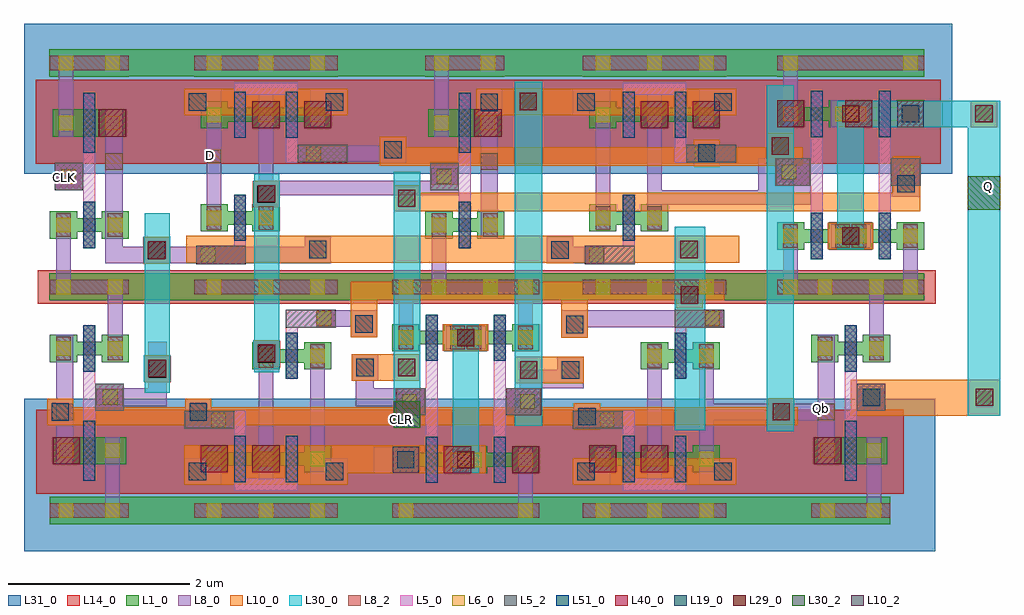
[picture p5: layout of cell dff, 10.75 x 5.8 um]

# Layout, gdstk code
from math import pi, radians
import gdstk
lib = gdstk.Library(unit=1e-6, precision=5e-09)
def R(c, l, rs):  # rectangles x0, y0, x1, y1
    for r in rs: c.add(gdstk.rectangle(r[:2], r[2:], *l))
def A(c, l, x, y, w, h, nx, ny, dx, dy):  # array of equal rectangles
    R(c, l, [(x+i*dx, y+j*dy, x+i*dx+w, y+j*dy+h) for i in range(nx) for j in range(ny)])
L1_0 = (1, 0)
L5_0 = (5, 0)
L5_2 = (5, 2)
L6_0 = (6, 0)
L8_0 = (8, 0)
L8_2 = (8, 2)
L10_0 = (10, 0)
L10_2 = (10, 2)
L14_0 = (14, 0)
L19_0 = (19, 0)
L29_0 = (29, 0)
L30_0 = (30, 0)
L30_2 = (30, 2)
L31_0 = (31, 0)
L40_0 = (40, 0)
L51_0 = (51, 0)

via1_constraint = lib.new_cell('Via1_constraint')
R(via1_constraint, L8_0, [(0.955,-0.005,1.245,0.285)])
R(via1_constraint, L10_0, [(0.955,-0.005,1.245,0.285)])
R(via1_constraint, L19_0, [(1.005,0.045,1.195,0.235)])

via2_constraint = lib.new_cell('Via2_constraint')
R(via2_constraint, L10_0, [(0,0,0.29,0.29)])
R(via2_constraint, L29_0, [(0.05,0.05,0.24,0.24)])
R(via2_constraint, L30_0, [(0,0,0.29,0.29)])

via1_constraint_3 = lib.new_cell('Via1_constraint$3')
R(via1_constraint_3, L8_0, [(0,0.18,0.29,0.47)])
R(via1_constraint_3, L10_0, [(0,0.18,0.29,0.47)])
R(via1_constraint_3, L19_0, [(0.05,0.23,0.24,0.42)])

via2_constraint_2 = lib.new_cell('Via2_constraint$2')
R(via2_constraint_2, L10_0, [(0,0.18,0.29,0.47)])
R(via2_constraint_2, L29_0, [(0.05,0.23,0.24,0.42)])
R(via2_constraint_2, L30_0, [(0,0.18,0.29,0.47)])

nmos_5 = lib.new_cell('nmos$5')
R(nmos_5, L1_0, [(0,0,0.3,0.3), (0.57,0,0.87,0.3), (0,0.075,0.87,0.225)])
R(nmos_5, L5_0, [(0.37,-0.105,0.5,0.405)])
R(nmos_5, L5_2, [(0.37,-0.105,0.5,0.405)])
R(nmos_5, L6_0, [(0.07,0.07,0.23,0.23), (0.64,0.07,0.8,0.23)])
R(nmos_5, L8_0, [(0.07,0.02,0.23,0.28), (0.64,0.02,0.8,0.28)])
R(nmos_5, L8_2, [(0.07,0.02,0.23,0.28), (0.64,0.02,0.8,0.28)])
R(nmos_5, L51_0, [(0.37,-0.105,0.5,0.405)])
nmos_5.add(gdstk.Label('nmos', (0.435,0.15), layer=63, texttype=0))
nmos_5.add(gdstk.Label('nmos', (0.435,0.15), layer=51, texttype=0))

pmos_3 = lib.new_cell('pmos$3')
R(pmos_3, L1_0, [(0,0.18,0.3,0.48), (0.57,0.18,0.87,0.48), (0,0.255,0.87,0.405)])
R(pmos_3, L5_0, [(0.37,0.075,0.5,0.585), (0.37,0.075,0.5,0.585)])
R(pmos_3, L6_0, [(0.07,0.25,0.23,0.41), (0.64,0.25,0.8,0.41)])
R(pmos_3, L8_0, [(0.07,0.2,0.23,0.46), (0.07,0.2,0.23,0.46), (0.64,0.2,0.8,0.46), (0.64,0.2,0.8,0.46)])
R(pmos_3, L14_0, [(-0.06,-0.045,1.05,0.705)])
R(pmos_3, L31_0, [(-0.31,-0.13,1.18,0.785)])
R(pmos_3, L40_0, [(0.57,0.18,0.87,0.48)])
R(pmos_3, L51_0, [(0.37,0.075,0.5,0.585)])
pmos_3.add(gdstk.Label('pmos', (0.435,0.33), layer=63, texttype=0))
pmos_3.add(gdstk.Label('pmos', (0.435,0.33), layer=51, texttype=0))

nor = lib.new_cell('NOR')
R(nor, L1_0, [(0.31,0.03,1.93,0.33), (0.31,2.495,1.93,2.795)])
R(nor, L5_0, [(0.68,0.995,0.81,1.83), (1.43,0.995,1.56,1.83), (0.35,1.295,0.68,1.595), (1.56,1.295,1.95,1.595)])
R(nor, L5_2, [(0.35,1.295,0.68,1.595), (1.56,1.295,1.95,1.595)])
R(nor, L6_0, [(0.38,0.1,0.54,0.26), (1.7,0.1,1.86,0.26), (0.95,0.66,1.29,0.82), (0.42,1.365,0.58,1.525), (1.72,1.365,1.88,1.525), (0.95,2.005,1.29,2.165), (0.38,2.565,0.54,2.725), (1.7,2.565,1.86,2.725)])
R(nor, L8_0, [(0.31,0.1,1.93,0.26), (0.9,0.61,1.34,0.87), (0.36,1.295,0.67,1.595), (1.57,1.295,1.94,1.595), (0.905,1.935,1.34,2.235), (0.105,1.94,0.315,2.23), (0.9,1.955,1.34,2.215), (0.31,2.565,1.93,2.725)])
R(nor, L8_2, [(0.31,0.1,1.93,0.26), (0.36,1.295,0.67,1.595), (1.57,1.295,1.94,1.595), (0.31,2.565,1.93,2.725)])
R(nor, L10_0, [(0.87,0.595,1.37,0.885)])
R(nor, L10_2, [(0.315,1.94,0.605,2.23)])
R(nor, L14_0, [(0.18,0,2.06,0.36)])
R(nor, L31_0, [(0,2.54,2.24,3.04)])
nor.add(gdstk.FlexPath([(1.78,2.215),(1.78,2.565)], 0.16, ends="flush", simple_path=True, layer=8, datatype=0))  # L8_0
nor.add(gdstk.FlexPath([(1.78,0.61),(1.78,0.26)], 0.16, ends="flush", simple_path=True, layer=8, datatype=0))  # L8_0
nor.add(gdstk.FlexPath([(0.46,0.61),(0.46,0.26),(0.46,0.26)], 0.16, ends="flush", simple_path=True, layer=8, datatype=0))  # L8_0
nor.add(gdstk.FlexPath([(0.605,2.085),(0.975,2.085)], 0.29, ends="flush", simple_path=True, layer=10, datatype=0))  # L10_0
nor.add(gdstk.FlexPath([(1.12,0.595),(1.12,1.955)], 0.29, ends="flush", simple_path=True, layer=30, datatype=0))  # L30_0
nor.add(gdstk.Reference(via1_constraint_3, (0.975,0.415)))
nor.add(gdstk.Reference(via2_constraint_2, (0.975,0.415)))
nor.add(gdstk.Reference(via2_constraint_2, (0.975,1.76)))
nor.add(gdstk.Reference(via1_constraint_3, (0.315,1.76)))
nor.add(gdstk.Reference(nmos_5, (1.06,0.59)))
nor.add(gdstk.Reference(nmos_5, (0.31,0.59)))
nor.add(gdstk.Reference(pmos_3, (1.06,1.755)))
nor.add(gdstk.Reference(pmos_3, (0.31,1.755)))
nor.add(gdstk.Label('VA', (1.79,1.43), layer=8, texttype=25))
nor.add(gdstk.Label('VB', (0.465,1.445), layer=8, texttype=25))
nor.add(gdstk.Label('VDD', (0.605,2.64), layer=8, texttype=25))
nor.add(gdstk.Label('VSS', (0.465,0.17), layer=8, texttype=25))
nor.add(gdstk.Label('VOUT', (0.325,1.975), layer=10, texttype=25))

nmos = lib.new_cell('nmos')
R(nmos, L1_0, [(0,-0.025,0.3,0.275), (0.57,-0.025,0.87,0.275), (0,0.05,0.87,0.2)])
R(nmos, L5_0, [(0.37,-0.13,0.5,0.38)])
R(nmos, L5_2, [(0.37,-0.13,0.5,0.38)])
R(nmos, L6_0, [(0.07,0.045,0.23,0.205), (0.64,0.045,0.8,0.205)])
R(nmos, L8_0, [(0.07,-0.005,0.23,0.255), (0.64,-0.005,0.8,0.255)])
R(nmos, L8_2, [(0.07,-0.005,0.23,0.255), (0.64,-0.005,0.8,0.255)])
R(nmos, L51_0, [(0.37,-0.13,0.5,0.38)])
nmos.add(gdstk.Label('nmos', (0.435,0.125), layer=63, texttype=0))
nmos.add(gdstk.Label('nmos', (0.435,0.125), layer=51, texttype=0))

pmos_1 = lib.new_cell('pmos$1')
R(pmos_1, L1_0, [(0,0.18,0.3,0.48), (0,0.18,0.81,0.48), (0.51,0.18,0.81,0.48)])
R(pmos_1, L5_0, [(0.34,0,0.47,0.66), (0.34,0,0.47,0.66)])
R(pmos_1, L6_0, [(0.07,0.25,0.23,0.41), (0.58,0.25,0.74,0.41)])
R(pmos_1, L8_0, [(0.07,0.18,0.23,0.48), (0.07,0.18,0.23,0.48), (0.58,0.18,0.74,0.48), (0.58,0.18,0.74,0.48)])
R(pmos_1, L14_0, [(-0.18,-0.12,0.99,0.78)])
R(pmos_1, L31_0, [(-0.31,-0.13,1.12,0.79)])
R(pmos_1, L40_0, [(0.51,0.18,0.81,0.48)])
R(pmos_1, L51_0, [(0.34,0,0.47,0.66)])
pmos_1.add(gdstk.Label('pmos', (0.405,0.33), layer=63, texttype=0))
pmos_1.add(gdstk.Label('pmos', (0.405,0.33), layer=51, texttype=0))

inv_d1 = lib.new_cell('INV_D1')
R(inv_d1, L1_0, [(-0.445,-1.44,0.425,-1.14), (-0.445,1.025,0.425,1.325)])
R(inv_d1, L5_0, [(-0.39,-0.225,-0.075,0.075), (-0.075,-0.03,0.055,0.185)])
R(inv_d1, L5_2, [(-0.39,-0.225,-0.075,0.075)])
R(inv_d1, L6_0, [(-0.375,-1.37,-0.215,-1.21), (0.195,-1.37,0.355,-1.21), (-0.32,-0.155,-0.16,0.005), (-0.345,1.095,-0.185,1.255), (0.165,1.095,0.325,1.255)])
R(inv_d1, L8_0, [(-0.445,-1.37,0.425,-1.21), (-0.39,-0.225,-0.075,0.075), (-0.445,1.095,0.425,1.255)])
R(inv_d1, L8_2, [(-0.445,-1.37,0.425,-1.21), (-0.38,-0.165,-0.085,0.015), (0.165,0,0.355,0.18), (-0.445,1.095,0.425,1.255)])
R(inv_d1, L14_0, [(-0.575,-1.47,0.555,-1.105)])
R(inv_d1, L31_0, [(-0.725,0.975,0.705,1.565)])
R(inv_d1, L40_0, [(0.095,0.365,0.395,0.665)])
inv_d1.add(gdstk.FlexPath([(-0.265,0.665),(-0.265,1.255)], 0.16, ends="flush", simple_path=True, layer=8, datatype=0))  # L8_0
inv_d1.add(gdstk.FlexPath([(0.26,-0.76),(0.26,0.665)], 0.19, ends="flush", simple_path=True, layer=8, datatype=0))  # L8_0
inv_d1.add(gdstk.FlexPath([(-0.295,-0.48),(-0.295,-1.37)], 0.16, ends="flush", simple_path=True, layer=8, datatype=0))  # L8_0
inv_d1.add(gdstk.FlexPath([(-0.01,-0.03),(-0.01,-0.355)], 0.13, ends="flush", simple_path=True, layer=5, datatype=0))  # L5_0
inv_d1.add(gdstk.Reference(nmos, (-0.445,-0.735)))
inv_d1.add(gdstk.Reference(pmos_1, (-0.415,0.185)))
inv_d1.add(gdstk.Label('nmos', (-0.01,-0.69), layer=63, texttype=0))
inv_d1.add(gdstk.Label('VDD', (-0.07,1.17), layer=8, texttype=25))
inv_d1.add(gdstk.Label('VSS', (-0.075,-1.295), layer=8, texttype=25))

nmos_4 = lib.new_cell('nmos$4')
R(nmos_4, L1_0, [(0,0.025,0.3,0.325), (0.57,0.025,0.87,0.325), (0,0.1,0.87,0.25)])
R(nmos_4, L5_0, [(0.37,-0.08,0.5,0.43)])
R(nmos_4, L5_2, [(0.37,-0.08,0.5,0.43)])
R(nmos_4, L6_0, [(0.07,0.095,0.23,0.255), (0.64,0.095,0.8,0.255)])
R(nmos_4, L8_0, [(0.07,0.045,0.23,0.305), (0.64,0.045,0.8,0.305)])
R(nmos_4, L8_2, [(0.07,0.045,0.23,0.305), (0.64,0.045,0.8,0.305)])
R(nmos_4, L51_0, [(0.37,-0.08,0.5,0.43)])
nmos_4.add(gdstk.Label('nmos', (0.435,0.175), layer=63, texttype=0))
nmos_4.add(gdstk.Label('nmos', (0.435,0.175), layer=51, texttype=0))

pmos_2 = lib.new_cell('pmos$2')
R(pmos_2, L1_0, [(0,0.14,0.3,0.44), (0.57,0.14,0.87,0.44), (0,0.215,0.87,0.365)])
R(pmos_2, L5_0, [(0.37,0.035,0.5,0.545), (0.37,0.035,0.5,0.545)])
R(pmos_2, L6_0, [(0.07,0.21,0.23,0.37), (0.64,0.21,0.8,0.37)])
R(pmos_2, L8_0, [(0.07,0.16,0.23,0.42), (0.07,0.16,0.23,0.43), (0.64,0.16,0.8,0.42), (0.64,0.16,0.8,0.42)])
R(pmos_2, L14_0, [(-0.18,-0.085,1.05,0.665)])
R(pmos_2, L31_0, [(-0.31,-0.2,1.18,0.725)])
R(pmos_2, L40_0, [(0.57,0.14,0.87,0.44)])
R(pmos_2, L51_0, [(0.37,0.035,0.5,0.545)])
pmos_2.add(gdstk.Label('pmos', (0.435,0.29), layer=63, texttype=0))
pmos_2.add(gdstk.Label('pmos', (0.435,0.29), layer=51, texttype=0))

via1_constraint_2 = lib.new_cell('Via1_constraint$2')
R(via1_constraint_2, L8_0, [(0,0.18,0.29,0.47)])
R(via1_constraint_2, L10_0, [(0,0.18,0.29,0.47)])
R(via1_constraint_2, L19_0, [(0.05,0.23,0.24,0.42)])

tg_2c = lib.new_cell('TG_2C')
R(tg_2c, L1_0, [(0.24,0.035,1.82,0.335), (0.24,2.5,1.82,2.8)])
R(tg_2c, L5_0, [(1.25,1.55,1.38,1.825)])
R(tg_2c, L5_2, [(0.26,0.435,0.81,0.635), (1.38,1.55,1.93,1.75)])
A(tg_2c, L6_0, 0.38, 0.105, 0.16, 0.16, 3, 2, 0.57, 2.465)
R(tg_2c, L6_0, [(0.31,0.455,0.47,0.615), (1.475,1.57,1.635,1.73)])
R(tg_2c, L8_0, [(0.24,0.105,1.82,0.265), (0.26,0.445,0.475,0.625), (1.38,1.56,1.92,1.74), (0.42,2.075,0.54,2.365), (1.52,2.075,1.64,2.365), (0.24,2.57,1.82,2.73)])
R(tg_2c, L8_2, [(0.24,0.105,1.82,0.265), (0.26,0.445,0.475,0.625), (0.95,0.865,1.11,1.02), (1.38,1.56,1.92,1.74), (0.24,2.57,1.82,2.73)])
R(tg_2c, L14_0, [(0.13,0,1.93,0.37)])
R(tg_2c, L31_0, [(0,2.515,2.06,3.04)])
tg_2c.add(gdstk.FlexPath([(0.46,2.355),(0.46,0.815)], 0.16, ends="flush", simple_path=True, layer=8, datatype=0))  # L8_0
tg_2c.add(gdstk.FlexPath([(1.03,2.355),(1.03,0.815)], 0.16, ends="flush", simple_path=True, layer=8, datatype=0))  # L8_0
tg_2c.add(gdstk.FlexPath([(1.38,1.65),(1.93,1.65)], 0.2, ends="flush", simple_path=True, layer=5, datatype=0))  # L5_0
tg_2c.add(gdstk.FlexPath([(0.745,2.265),(0.745,2.365),(1.315,2.365),(1.315,2.265)], 0.13, ends="flush", simple_path=True, layer=5, datatype=0))  # L5_0
tg_2c.add(gdstk.FlexPath([(0.26,0.535),(0.81,0.535),(0.81,0.535)], 0.2, ends="flush", simple_path=True, layer=5, datatype=0))  # L5_0
tg_2c.add(gdstk.FlexPath([(0.745,0.69),(0.745,0.635),(0.745,0.635)], 0.13, ends="flush", simple_path=True, layer=5, datatype=0))  # L5_0
tg_2c.add(gdstk.FlexPath([(0.31,2.22),(1.75,2.22)], 0.29, ends="flush", simple_path=True, layer=10, datatype=0))  # L10_0
tg_2c.add(gdstk.Reference(nmos_4, (0.31,0.77)))
tg_2c.add(gdstk.Reference(pmos_2, (0.31,1.79)))
tg_2c.add(gdstk.Reference(pmos_2, (0.88,1.79)))
tg_2c.add(gdstk.Reference(via1_constraint_2, (1.64,1.895)))
tg_2c.add(gdstk.Reference(via1_constraint_2, (0.13,1.895)))
tg_2c.add(gdstk.Label('VCTRLN', (0.395,0.495), layer=8, texttype=25))
tg_2c.add(gdstk.Label('VCTRLP', (1.66,1.59), layer=8, texttype=25))
tg_2c.add(gdstk.Label('VDD', (0.33,2.63), layer=8, texttype=25))
tg_2c.add(gdstk.Label('VOUT', (1.065,0.91), layer=8, texttype=25))
tg_2c.add(gdstk.Label('VIN', (0.425,0.935), layer=8, texttype=25))
tg_2c.add(gdstk.Label('VSS', (0.235,0.17), layer=8, texttype=25))

dff_placement = lib.new_cell('dff_placement')
R(dff_placement, L1_0, [(-1.835,8.42,7.23,8.72), (-1.84,10.885,7.23,11.185), (-1.84,13.355,7.605,13.65)])
R(dff_placement, L14_0, [(-1.985,8.755,7.57,9.68), (-1.97,10.85,7.925,11.22), (-1.99,12.39,7.98,13.315)])
R(dff_placement, L31_0, [(-2.115,8.125,7.915,9.8), (-2.12,12.28,8.105,13.93)])
dff_placement.add(gdstk.Reference(nor, (8.105,10.855), rotation=pi, x_reflection=True))
dff_placement.add(gdstk.Reference(nor, (1.625,11.215), x_reflection=True))
dff_placement.add(gdstk.Reference(inv_d1, (-1.39,12.325)))
dff_placement.add(gdstk.Reference(inv_d1, (6.975,9.745), rotation=pi))
dff_placement.add(gdstk.Reference(inv_d1, (-1.41,9.745), rotation=pi))
dff_placement.add(gdstk.Reference(inv_d1, (2.745,12.325)))
dff_placement.add(gdstk.Reference(tg_2c, (-0.485,10.85)))
dff_placement.add(gdstk.Reference(tg_2c, (1.575,11.22), rotation=pi))
dff_placement.add(gdstk.Reference(tg_2c, (3.795,10.85)))
dff_placement.add(gdstk.Reference(tg_2c, (5.855,11.22), rotation=pi))

dff = lib.new_cell('dff')
R(dff, L8_0, [(5.315,9.565,6.81,9.745), (3.8,10.59,5.595,10.775), (1.1,10.595,1.77,10.775), (-1.225,11.295,1.26,11.475), (-0.805,11.295,-0.615,11.565), (3.64,11.295,4.27,11.475), (4.745,11.94,6.545,12.1), (7.435,12.03,7.75,12.45), (0.465,12.045,2.67,12.205), (5.965,12.07,6.545,12.45), (0.895,12.41,2.01,12.59)])
R(dff, L8_2, [(6.62,9.565,6.81,9.745), (-1.78,12.1,-1.465,12.4), (-0.105,12.4,0.055,12.545)])
R(dff, L10_0, [(-0.355,8.98,2.965,9.29), (-1.865,9.51,6.4,9.71), (6.985,9.615,8.63,10.01), (3.285,9.975,4.045,10.265), (1.49,10,2.24,10.29), (3.8,10.48,4.09,11.06), (1.48,10.485,1.77,11.06), (1.48,10.885,5.595,11.09), (-0.335,11.3,5.76,11.595), (1.95,11.865,7.75,12.07), (7.45,11.865,7.75,12.475), (1.8,12.37,6.455,12.57), (2.86,12.925,4.255,13.215)])
R(dff, L30_0, [(6.06,9.445,6.36,13.255), (5.045,9.455,5.385,11.695), (1.95,9.485,2.245,12.305), (3.285,9.505,3.59,13.295), (8.275,9.615,8.63,13.085), (-0.79,9.87,-0.515,11.845), (0.415,10.095,0.69,12.28), (6.84,12.795,8.63,13.085)])
R(dff, L30_2, [(1.95,9.485,2.245,9.775), (8.275,11.885,8.63,12.255)])
dff.add(gdstk.FlexPath([(-1.03,9.82),(-0.65,9.82),(-0.65,10.43)], 0.2, ends="flush", simple_path=True, layer=8, datatype=0))  # L8_0
dff.add(gdstk.FlexPath([(-1.13,11.565),(-1.13,11.295),(-1.13,11.295)], 0.19, ends="flush", simple_path=True, layer=8, datatype=0))  # L8_0
dff.add(gdstk.FlexPath([(1.985,9.82),(1.635,9.82),(1.635,10.29)], 0.2, ends="flush", simple_path=True, layer=8, datatype=0))  # L8_0
dff.add(gdstk.FlexPath([(3.44,9.915),(3.44,10.02),(4.045,10.02)], 0.2, ends="flush", simple_path=True, layer=8, datatype=0))  # L8_0
dff.add(gdstk.Reference(via1_constraint, (2.8,9.98)))
dff.add(gdstk.Reference(via1_constraint, (1.905,12.925)))
dff.add(gdstk.Reference(via1_constraint, (6.115,9.675)))
dff.add(gdstk.Reference(via2_constraint, (8.315,9.675)))
dff.add(gdstk.Reference(via1_constraint, (-2.82,9.515)))
dff.add(gdstk.Reference(via1_constraint, (-0.555,11.915)))
dff.add(gdstk.Reference(via1_constraint, (-0.545,10.155)))
dff.add(gdstk.Reference(via2_constraint, (0.405,11.915)))
dff.add(gdstk.Reference(dff_placement, (0,0)))
dff.add(gdstk.Reference(via2_constraint, (3.29,12.93)))
dff.add(gdstk.Reference(via1_constraint, (-1.76,11.295)))
dff.add(gdstk.Reference(via1_constraint, (-1.75,9.99)))
dff.add(gdstk.Reference(via2_constraint, (-0.8,11.295)))
dff.add(gdstk.Reference(via2_constraint, (-0.8,9.99)))
dff.add(gdstk.Reference(via2_constraint, (5.06,11.3)))
dff.add(gdstk.Reference(via2_constraint, (5.065,10.8)))
dff.add(gdstk.Reference(via1_constraint, (0.015,11.305)))
dff.add(gdstk.Reference(via1_constraint, (2.685,11.3)))
dff.add(gdstk.Reference(via1_constraint, (2.845,10.48)))
dff.add(gdstk.Reference(via1_constraint, (0.525,10.485)))
dff.add(gdstk.Reference(via1_constraint, (-1.3,9.515)))
dff.add(gdstk.Reference(via1_constraint, (2.98,9.465)))
dff.add(gdstk.Reference(via2_constraint, (3.295,9.975)))
dff.add(gdstk.Reference(via1_constraint, (6.495,12.03)))
dff.add(gdstk.Reference(via2_constraint, (1.95,11.865)))
dff.add(gdstk.Reference(via2_constraint, (1.95,10)))
dff.add(gdstk.Reference(via1_constraint, (0.535,10.005)))
dff.add(gdstk.Reference(via2_constraint, (8.31,12.795)))
dff.add(gdstk.Reference(via2_constraint, (0.405,10.155)))
dff.add(gdstk.Reference(via1_constraint, (0.845,12.405)))
dff.add(gdstk.Reference(via2_constraint, (6.075,9.515)))
dff.add(gdstk.Reference(via2_constraint, (6.065,12.44)))
dff.add(gdstk.Reference(via1_constraint, (4.3,12.37)))
dff.add(gdstk.Label('D', (-0.065,12.48), layer=8, texttype=25))
dff.add(gdstk.Label('Qb', (6.665,9.69), layer=8, texttype=25))
dff.add(gdstk.Label('CLK', (-1.675,12.235), layer=8, texttype=25))
dff.add(gdstk.Label('Q', (8.505,12.145), layer=30, texttype=2))
dff.add(gdstk.Label('CLR', (2.04,9.575), layer=30, texttype=2))

lib.write_gds('dff.gds')
